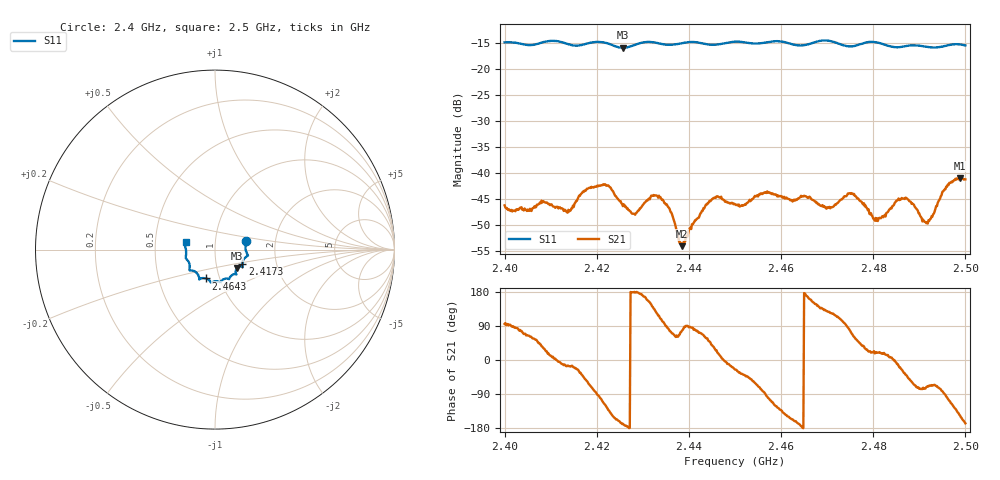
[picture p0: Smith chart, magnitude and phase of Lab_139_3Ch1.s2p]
# Hz S RI R 50
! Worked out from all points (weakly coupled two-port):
!   601 points, 2.4 GHz to 2.5 GHz, reference 50 ohm
!   highest |S21| = -40.99 dB at 2.4988 GHz (marker M1); lowest = -54.2 dB at 2.4385 GHz (marker M2)
!   lowest |S11| = -15.9 dB at 2.4257 GHz (marker M3), VSWR 1.38, Z = 62.5 - j13.2 ohm
!   |S11| at or under -10 dB: start of sweep to end of sweep
!   S12 and S22 are empty: the file has one direction only
!   S11 on the Smith chart (normalised r, x): 2.4 GHz: 1.41, +0.14; 2.4173 GHz: 1.34, -0.23; 2.4643 GHz: 0.86, -0.28; 2.5 GHz: 0.72, +0.06
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2.4e9  0.1734 0.0496  -0.000445 0.00482  0 0  0 0
2.413833e9  0.1669 -0.0454  0.00424 -0.00115  0 0  0 0
2.416667e9  0.1528 -0.0748  0.00498 -0.00387  0 0  0 0
2.417333e9  0.1522 -0.0821  0.00446 -0.00505  0 0  0 0
2.422167e9  0.1508 -0.0943  -0.00424 -0.00617  0 0  0 0
2.425667e9  0.1228 -0.1026  -0.00466 -0.000974  0 0  0 0
2.428167e9  0.1152 -0.1254  -0.004 1.5e-05  0 0  0 0
2.433333e9  0.1126 -0.1365  -0.00262 0.0051  0 0  0 0
2.435833e9  0.0954 -0.1419  0.00104 0.00432  0 0  0 0
2.4385e9  0.0818 -0.1571  0.000417 0.00191  0 0  0 0
2.444833e9  0.0569 -0.1615  0.00411 0.00355  0 0  0 0
2.45e9  0.0294 -0.1809  0.0045 -0.00211  0 0  0 0
2.464333e9  -0.0504 -0.1609  -0.00597 -0.000583  0 0  0 0
2.466667e9  -0.0766 -0.16  -0.005 0.00231  0 0  0 0
2.470333e9  -0.0873 -0.1653  -0.00276 0.00371  0 0  0 0
2.475333e9  -0.1096 -0.1235  0.00218 0.00586  0 0  0 0
2.4805e9  -0.1428 -0.1121  0.00343 0.00129  0 0  0 0
2.483333e9  -0.1407 -0.0896  0.00423 0.000724  0 0  0 0
2.487167e9  -0.1569 -0.0555  0.00439 -0.00367  0 0  0 0
2.491667e9  -0.161 -0.028  0.0011 -0.00313  0 0  0 0
2.498833e9  -0.1687 0.035  -0.00743 -0.00493  0 0  0 0
2.5e9  -0.1634 0.0415  -0.00842 -0.00193  0 0  0 0
